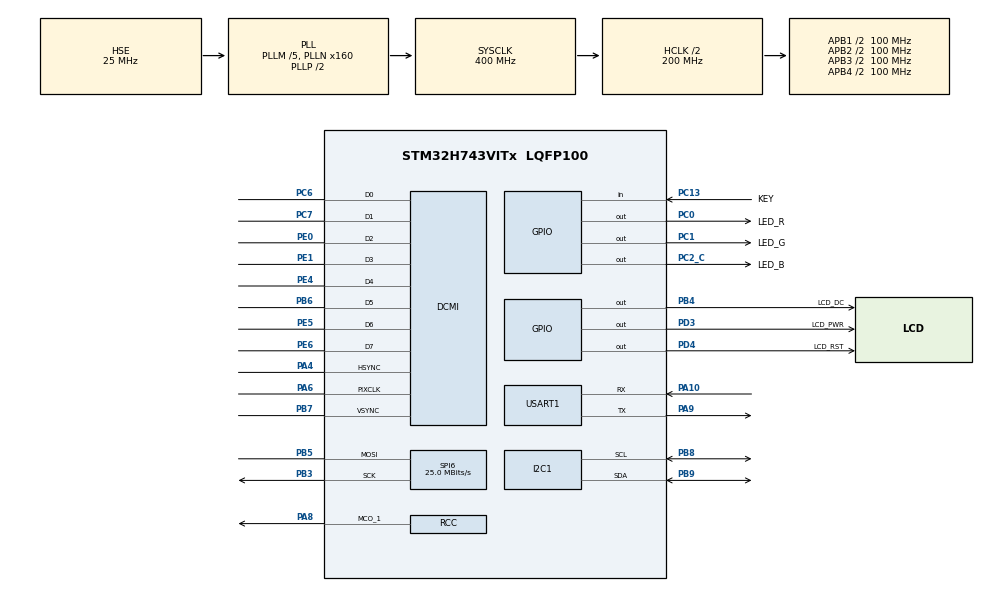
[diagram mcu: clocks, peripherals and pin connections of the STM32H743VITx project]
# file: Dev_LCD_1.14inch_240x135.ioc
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CORTEX_M7.CPU_DCache=Enabled
CORTEX_M7.CPU_ICache=Enabled
CORTEX_M7.MPU_Control=__NULL
CORTEX_M7.default_mode_Activation=0
DCMI.JPEGMode=DCMI_JPEG_DISABLE
DCMI.PCKPolarity=DCMI_PCKPOLARITY_RISING
DCMI.VSPolarity=DCMI_VSPOLARITY_HIGH
Dma.DCMI.0.Direction=DMA_PERIPH_TO_MEMORY
Dma.DCMI.0.EventEnable=DISABLE
Dma.DCMI.0.FIFOMode=DMA_FIFOMODE_ENABLE
Dma.DCMI.0.FIFOThreshold=DMA_FIFO_THRESHOLD_FULL
Dma.DCMI.0.Instance=DMA1_Stream0
Dma.DCMI.0.MemBurst=DMA_MBURST_SINGLE
Dma.DCMI.0.MemDataAlignment=DMA_MDATAALIGN_WORD
Dma.DCMI.0.MemInc=DMA_MINC_ENABLE
Dma.DCMI.0.Mode=DMA_CIRCULAR
Dma.DCMI.0.PeriphBurst=DMA_PBURST_SINGLE
Dma.DCMI.0.PeriphDataAlignment=DMA_PDATAALIGN_WORD
Dma.DCMI.0.PeriphInc=DMA_PINC_DISABLE
Dma.DCMI.0.Polarity=HAL_DMAMUX_REQ_GEN_RISING
Dma.DCMI.0.Priority=DMA_PRIORITY_VERY_HIGH
Dma.DCMI.0.RequestNumber=1
Dma.DCMI.0.SignalID=NONE
Dma.DCMI.0.SyncEnable=DISABLE
Dma.DCMI.0.SyncPolarity=HAL_DMAMUX_SYNC_NO_EVENT
Dma.DCMI.0.SyncRequestNumber=1
Dma.DCMI.0.SyncSignalID=NONE
Dma.Request0=DCMI
I2C1.I2C_Fall_Time=10
I2C1.I2C_Rise_Time=100
I2C1.Timing=0x40604E73
Mcu.Family=STM32H7
Mcu.Name=STM32H743VITx
Mcu.Package=LQFP100
NVIC.DCMI_IRQn=true\:1\:0\:true\:false\:true\:true\:true\:true
NVIC.DMA1_Stream0_IRQn=true\:0\:0\:false\:false\:true\:false\:true\:true
NVIC.PriorityGroup=NVIC_PRIORITYGROUP_2
PA10.Mode=Asynchronous
PA10.Signal=USART1_RX
PA13\ (JTMS/SWDIO).Mode=Serial_Wire
PA13\ (JTMS/SWDIO).Signal=DEBUG_JTMS-SWDIO
PA14\ (JTCK/SWCLK).Mode=Serial_Wire
PA14\ (JTCK/SWCLK).Signal=DEBUG_JTCK-SWCLK
PA4.GPIO_Speed=GPIO_SPEED_FREQ_HIGH
PA4.Mode=Slave_8_bits_External_Synchro
PA4.Signal=DCMI_HSYNC
PA6.GPIO_Speed=GPIO_SPEED_FREQ_HIGH
PA6.Mode=Slave_8_bits_External_Synchro
PA6.Signal=DCMI_PIXCLK
PA8.Mode=Clock-out-1
PA8.Signal=RCC_MCO_1
PA9.Mode=Asynchronous
PA9.Signal=USART1_TX
PB3\ (JTDO/TRACESWO).GPIO_PuPd=GPIO_PULLUP
PB3\ (JTDO/TRACESWO).GPIO_Speed=GPIO_SPEED_FREQ_VERY_HIGH
PB3\ (JTDO/TRACESWO).Mode=Simplex_Bidirectional_Master
PB3\ (JTDO/TRACESWO).Signal=SPI6_SCK
PB4\ (NJTRST).GPIO_Label=LCD_DC
PB4\ (NJTRST).GPIO_ModeDefaultOutputPP=GPIO_MODE_OUTPUT_PP
PB4\ (NJTRST).GPIO_PuPd=GPIO_PULLUP
PB4\ (NJTRST).Signal=GPIO_Output
PB5.GPIO_PuPd=GPIO_PULLUP
PB5.GPIO_Speed=GPIO_SPEED_FREQ_VERY_HIGH
PB5.Mode=Simplex_Bidirectional_Master
PB5.Signal=SPI6_MOSI
PB6.GPIO_Speed=GPIO_SPEED_FREQ_HIGH
PB6.Mode=Slave_8_bits_External_Synchro
PB6.Signal=DCMI_D5
PB7.GPIO_Speed=GPIO_SPEED_FREQ_HIGH
PB7.Mode=Slave_8_bits_External_Synchro
PB7.Signal=DCMI_VSYNC
PB8.GPIO_Pu=GPIO_PULLUP
PB8.Mode=I2C
PB8.Signal=I2C1_SCL
PB9.GPIO_Pu=GPIO_PULLUP
PB9.Mode=I2C
PB9.Signal=I2C1_SDA
PC0.GPIO_Label=LED_R
PC0.GPIO_PuPd=GPIO_PULLUP
PC0.PinState=GPIO_PIN_SET
PC0.Signal=GPIO_Output
PC1.GPIO_Label=LED_G
PC1.GPIO_PuPd=GPIO_PULLUP
PC1.GPIO_Speed=GPIO_SPEED_FREQ_LOW
PC1.PinState=GPIO_PIN_SET
PC1.Signal=GPIO_Output
PC13.GPIO_Label=KEY
PC13.GPIO_PuPd=GPIO_PULLUP
PC13.Signal=GPIO_Input
PC14-OSC32_IN\ (OSC32_IN).Mode=LSE-External-Oscillator
PC14-OSC32_IN\ (OSC32_IN).Signal=RCC_OSC32_IN
PC15-OSC32_OUT\ (OSC32_OUT).Mode=LSE-External-Oscillator
PC15-OSC32_OUT\ (OSC32_OUT).Signal=RCC_OSC32_OUT
PC2_C.GPIO_Label=LED_B
PC2_C.GPIO_PuPd=GPIO_PULLUP
PC2_C.PinState=GPIO_PIN_SET
PC2_C.Signal=GPIO_Output
PC6.GPIO_Speed=GPIO_SPEED_FREQ_HIGH
PC6.Mode=Slave_8_bits_External_Synchro
PC6.Signal=DCMI_D0
PC7.GPIO_Speed=GPIO_SPEED_FREQ_HIGH
PC7.Mode=Slave_8_bits_External_Synchro
PC7.Signal=DCMI_D1
PD3.GPIO_Label=LCD_PWR
PD3.GPIO_PuPd=GPIO_PULLUP
PD3.Signal=GPIO_Output
PD4.GPIO_Label=LCD_RST
PD4.GPIO_PuPd=GPIO_PULLUP
PD4.Signal=GPIO_Output
PE0.GPIO_Speed=GPIO_SPEED_FREQ_HIGH
PE0.Mode=Slave_8_bits_External_Synchro
PE0.Signal=DCMI_D2
PE1.GPIO_Speed=GPIO_SPEED_FREQ_HIGH
PE1.Mode=Slave_8_bits_External_Synchro
PE1.Signal=DCMI_D3
PE4.GPIO_Speed=GPIO_SPEED_FREQ_HIGH
PE4.Mode=Slave_8_bits_External_Synchro
PE4.Signal=DCMI_D4
PE5.GPIO_Speed=GPIO_SPEED_FREQ_HIGH
PE5.Mode=Slave_8_bits_External_Synchro
PE5.Signal=DCMI_D6
PE6.GPIO_Speed=GPIO_SPEED_FREQ_HIGH
PE6.Mode=Slave_8_bits_External_Synchro
PE6.Signal=DCMI_D7
PH0-OSC_IN\ (PH0).Mode=HSE-External-Oscillator
PH0-OSC_IN\ (PH0).Signal=RCC_OSC_IN
PH1-OSC_OUT\ (PH1).Mode=HSE-External-Oscillator
PH1-OSC_OUT\ (PH1).Signal=RCC_OSC_OUT
ProjectManager.HeapSize=0x800
ProjectManager.StackSize=0x800
ProjectManager.TargetToolchain=Makefile
RCC.ADCFreq_Value=200000000
RCC.APB1Freq_Value=100000000
RCC.APB2Freq_Value=100000000
RCC.APB3Freq_Value=100000000
RCC.APB4Freq_Value=100000000
RCC.CortexFreq_Value=400000000
RCC.D1PPRE=RCC_APB3_DIV2
RCC.D2PPRE1=RCC_APB1_DIV2
RCC.D2PPRE2=RCC_APB2_DIV2
RCC.D3PPRE=RCC_APB4_DIV2
RCC.DIVM1=5
RCC.DIVM2=5
RCC.DIVM3=5
RCC.DIVN1=160
RCC.DIVN2=80
RCC.DIVN3=64
RCC.DIVQ1=20
RCC.FLatency=FLASH_LATENCY_2
RCC.HCLKFreq_Value=200000000
RCC.HPRE=RCC_HCLK_DIV2
RCC.PLL1_VCI_Range=RCC_PLL1VCIRANGE_2
RCC.PLLFRACN=0
RCC.PLLSourceVirtual=RCC_PLLSOURCE_HSE
RCC.PWR_Regulator_Voltage_Scale=PWR_REGULATOR_VOLTAGE_SCALE1
RCC.ProductRev=revV
RCC.RCC_MCO1Source=RCC_MCO1SOURCE_HSI48
RCC.RCC_MCODiv1=RCC_MCODIV_4
RCC.SYSCLKFreq_VALUE=400000000
RCC.SYSCLKSource=RCC_SYSCLKSOURCE_PLLCLK
RCC.USBFreq_Value=40000000
SPI6.BaudRatePrescaler=SPI_BAUDRATEPRESCALER_4
SPI6.CLKPhase=SPI_PHASE_2EDGE
SPI6.CLKPolarity=SPI_POLARITY_HIGH
SPI6.CRCCalculation=SPI_CRCCALCULATION_DISABLE
SPI6.CalculateBaudRate=25.0 MBits/s
SPI6.DataSize=SPI_DATASIZE_8BIT
SPI6.Direction=SPI_DIRECTION_1LINE
SPI6.FifoThreshold=SPI_FIFO_THRESHOLD_01DATA
SPI6.FirstBit=SPI_FIRSTBIT_MSB
SPI6.IOSwap=SPI_IO_SWAP_DISABLE
SPI6.MasterInterDataIdleness=SPI_MASTER_INTERDATA_IDLENESS_00CYCLE
SPI6.MasterKeepIOState=SPI_MASTER_KEEP_IO_STATE_ENABLE
SPI6.MasterReceiverAutoSusp=SPI_MASTER_RX_AUTOSUSP_DISABLE
SPI6.MasterSSIdleness=SPI_MASTER_SS_IDLENESS_00CYCLE
SPI6.Mode=SPI_MODE_MASTER
SPI6.NSS=SPI_NSS_SOFT
SPI6.NSSPMode=SPI_NSS_PULSE_ENABLE
SPI6.NSSPolarity=SPI_NSS_POLARITY_LOW
SPI6.RxCRCInitializationPattern=SPI_CRC_INITIALIZATION_ALL_ZERO_PATTERN
SPI6.TIMode=SPI_TIMODE_DISABLE
SPI6.TxCRCInitializationPattern=SPI_CRC_INITIALIZATION_ALL_ZERO_PATTERN
SPI6.VirtualType=VM_MASTER
USART1.VirtualMode-Asynchronous=VM_ASYNC
board=custom

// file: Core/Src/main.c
/* USER CODE BEGIN Header */
/**
  ******************************************************************************
  * @file           : main.c
  * @brief          : Main program body
  ******************************************************************************
  * @attention
  *
  * Copyright (c) 2024 STMicroelectronics.
  * All rights reserved.
  *
  * This software is licensed under terms that can be found in the LICENSE file
  * in the root directory of this software component.
  * If no LICENSE file comes with this software, it is provided AS-IS.
  *
  ******************************************************************************
  */
/* USER CODE END Header */
#include "main.h"
#include "dcmi.h"
#include "dma.h"
#include "i2c.h"
#include "spi.h"
#include "usart.h"
#include "gpio.h"

/* USER CODE BEGIN Includes */
#include "lcd.h"
#include "camera.h"
/* USER CODE END Includes */

/* USER CODE BEGIN PV */

/* =============================== LCD ===============================  */
static uint16_t line_buffer[320];

lcd_io lcd_io_desc = {
    .spi = &hspi6,
    .rst = {LCD_RST_GPIO_Port, LCD_RST_Pin, 0},
    .bl  = {LCD_PWR_GPIO_Port, LCD_PWR_Pin, 0},
    .cs  = { /* CS */ },
    .dc  = {LCD_DC_GPIO_Port,  LCD_DC_Pin,  0},
    .te  = { /* TE */ }
};

lcd lcd_desc = {
    .io = &lcd_io_desc,
    .line_buffer = line_buffer,
};

/* ============================== Camera ==============================  */
#define FrameWidth  160
#define FrameHeight 120

// picture buffer
uint16_t pic[FrameWidth][FrameHeight] __attribute__((aligned(32)));
uint32_t DCMI_FrameIsReady;
uint32_t Camera_FPS;

/* USER CODE END PV */

void SystemClock_Config(void);

/* USER CODE BEGIN 0 */
static void MPU_Config(void)
{
  MPU_Region_InitTypeDef MPU_InitStruct = {0};

  /* Disables the MPU */
  HAL_MPU_Disable();

//  MPU_InitStruct.Enable           = MPU_REGION_ENABLE;
//  MPU_InitStruct.Number           = MPU_REGION_NUMBER0;
//  MPU_InitStruct.BaseAddress      = D1_ITCMRAM_BASE;
//  MPU_InitStruct.DisableExec      = MPU_INSTRUCTION_ACCESS_DISABLE;
//  MPU_InitStruct.AccessPermission = MPU_REGION_NO_ACCESS;
//  MPU_InitStruct.TypeExtField     = MPU_TEX_LEVEL0;
//  MPU_InitStruct.IsShareable      = MPU_ACCESS_NOT_SHAREABLE;
//  MPU_InitStruct.IsCacheable      = MPU_ACCESS_NOT_CACHEABLE;
//  MPU_InitStruct.IsBufferable     = MPU_ACCESS_NOT_BUFFERABLE;
//  MPU_InitStruct.SubRegionDisable = 0x00;
//  MPU_InitStruct.Size             = MPU_REGION_SIZE_4GB;
//  HAL_MPU_ConfigRegion(&MPU_InitStruct);

//  MPU_InitStruct.Enable           = MPU_REGION_ENABLE;
//  MPU_InitStruct.Number           = MPU_REGION_NUMBER1;
//  MPU_InitStruct.BaseAddress      = QSPI_BASE;
//  MPU_InitStruct.DisableExec      = MPU_INSTRUCTION_ACCESS_ENABLE;
//  MPU_InitStruct.AccessPermission = MPU_REGION_FULL_ACCESS;
//  MPU_InitStruct.TypeExtField     = MPU_TEX_LEVEL0;
//  MPU_InitStruct.IsShareable      = MPU_ACCESS_NOT_SHAREABLE;
//  MPU_InitStruct.IsCacheable      = MPU_ACCESS_NOT_CACHEABLE;
//  MPU_InitStruct.IsBufferable     = MPU_ACCESS_NOT_BUFFERABLE;
//  MPU_InitStruct.SubRegionDisable = 0x00;
//  MPU_InitStruct.Size             = MPU_REGION_SIZE_256MB;
//  HAL_MPU_ConfigRegion(&MPU_InitStruct);

  MPU_InitStruct.Enable           = MPU_REGION_ENABLE;
  MPU_InitStruct.Number           = MPU_REGION_NUMBER12;
  MPU_InitStruct.BaseAddress      = D1_AXIFLASH_BASE;
  MPU_InitStruct.DisableExec      = MPU_INSTRUCTION_ACCESS_ENABLE;
  MPU_InitStruct.AccessPermission = MPU_REGION_FULL_ACCESS;
  MPU_InitStruct.IsShareable      = MPU_ACCESS_NOT_SHAREABLE;
  MPU_InitStruct.IsCacheable      = MPU_ACCESS_CACHEABLE;
  MPU_InitStruct.IsBufferable     = MPU_ACCESS_BUFFERABLE;
  MPU_InitStruct.TypeExtField     = MPU_TEX_LEVEL1;
  MPU_InitStruct.SubRegionDisable = 0x00;
  MPU_InitStruct.Size             = MPU_REGION_SIZE_2MB;
  HAL_MPU_ConfigRegion(&MPU_InitStruct);

  MPU_InitStruct.Enable           = MPU_REGION_ENABLE;
  MPU_InitStruct.Number           = MPU_REGION_NUMBER13;
  MPU_InitStruct.BaseAddress      = D1_ITCMRAM_BASE;
  MPU_InitStruct.DisableExec      = MPU_INSTRUCTION_ACCESS_ENABLE;
  MPU_InitStruct.AccessPermission = MPU_REGION_FULL_ACCESS;
  MPU_InitStruct.IsShareable      = MPU_ACCESS_NOT_SHAREABLE;
  MPU_InitStruct.IsCacheable      = MPU_ACCESS_NOT_CACHEABLE;
  MPU_InitStruct.IsBufferable     = MPU_ACCESS_NOT_CACHEABLE;
  MPU_InitStruct.TypeExtField     = MPU_TEX_LEVEL1;
  MPU_InitStruct.SubRegionDisable = 0x00;
  MPU_InitStruct.Size             = MPU_REGION_SIZE_64KB;
  HAL_MPU_ConfigRegion(&MPU_InitStruct);

  MPU_InitStruct.Enable           = MPU_REGION_ENABLE;
  MPU_InitStruct.Number           = MPU_REGION_NUMBER14;
  MPU_InitStruct.BaseAddress      = D1_DTCMRAM_BASE;
  MPU_InitStruct.DisableExec      = MPU_INSTRUCTION_ACCESS_ENABLE;
  MPU_InitStruct.AccessPermission = MPU_REGION_FULL_ACCESS;
  MPU_InitStruct.IsShareable      = MPU_ACCESS_NOT_SHAREABLE;
  MPU_InitStruct.IsCacheable      = MPU_ACCESS_NOT_CACHEABLE;
  MPU_InitStruct.IsBufferable     = MPU_ACCESS_NOT_CACHEABLE;
  MPU_InitStruct.TypeExtField     = MPU_TEX_LEVEL1;
  MPU_InitStruct.SubRegionDisable = 0x00;
  MPU_InitStruct.Size             = MPU_REGION_SIZE_128KB;
  HAL_MPU_ConfigRegion(&MPU_InitStruct);

  /* Setup AXI SRAM in Cacheable WB */
  MPU_InitStruct.Enable           = MPU_REGION_ENABLE;
  MPU_InitStruct.Number           = MPU_REGION_NUMBER15;
  MPU_InitStruct.BaseAddress      = D1_AXISRAM_BASE;
  MPU_InitStruct.DisableExec      = MPU_INSTRUCTION_ACCESS_ENABLE;
  MPU_InitStruct.AccessPermission = MPU_REGION_FULL_ACCESS;
  MPU_InitStruct.IsShareable      = MPU_ACCESS_NOT_SHAREABLE;
  MPU_InitStruct.IsCacheable      = MPU_ACCESS_CACHEABLE;
  MPU_InitStruct.IsBufferable     = MPU_ACCESS_BUFFERABLE;
  MPU_InitStruct.TypeExtField     = MPU_TEX_LEVEL0;
  MPU_InitStruct.SubRegionDisable = 0x00;
  MPU_InitStruct.Size             = MPU_REGION_SIZE_512KB;
  HAL_MPU_ConfigRegion(&MPU_InitStruct);

  /* Enables the MPU */
  HAL_MPU_Enable(MPU_PRIVILEGED_DEFAULT);
}
/* USER CODE END 0 */

int main(void)
{

  /* USER CODE BEGIN 1 */
//	MPU_Config();
  /* USER CODE END 1 */

  /* Enable the CPU Cache */

  /* Enable I-Cache---------------------------------------------------------*/
  SCB_EnableICache();

  /* Enable D-Cache---------------------------------------------------------*/
  SCB_EnableDCache();

  /* MCU Configuration--------------------------------------------------------*/

  /* Reset of all peripherals, Initializes the Flash interface and the Systick. */
  HAL_Init();

  /* Configure the system clock */
  SystemClock_Config();

  /* Initialize all configured peripherals */
  MX_GPIO_Init();
  MX_DMA_Init();
  MX_SPI6_Init();
  MX_DCMI_Init();
  MX_USART1_UART_Init();
  MX_I2C1_Init();
  /* USER CODE BEGIN 2 */
  lcd_init_dev(&lcd_desc, LCD_1_14_INCH, LCD_ROTATE_0);

  Camera_Init_Device(&hi2c1, FRAMESIZE_QQVGA);
  HAL_Delay(500);
  HAL_DCMI_Start_DMA(&hdcmi,DCMI_MODE_CONTINUOUS, (uint32_t)pic, sizeof(pic) / 4);
  /* USER CODE END 2 */

  /* Infinite loop */
  /* USER CODE BEGIN WHILE */
  while (1)
  {
    if (DCMI_FrameIsReady)
    {
        DCMI_FrameIsReady = 0;
        lcd_show_picture(&lcd_desc, 0, 0, 160, 120, (uint8_t *)&pic);
                  // 在屏幕右侧显示当前帧率（FPS）
        lcd_print(&lcd_desc, 50, 120, "%dFPS",Camera_FPS);

    }
    /* USER CODE END WHILE */

  }
}

void SystemClock_Config(void)
{
  RCC_OscInitTypeDef RCC_OscInitStruct = {0};
  RCC_ClkInitTypeDef RCC_ClkInitStruct = {0};

  /** Supply configuration update enable
  */
  HAL_PWREx_ConfigSupply(PWR_LDO_SUPPLY);

  /** Configure the main internal regulator output voltage
  */
  __HAL_PWR_VOLTAGESCALING_CONFIG(PWR_REGULATOR_VOLTAGE_SCALE1);

  while(!__HAL_PWR_GET_FLAG(PWR_FLAG_VOSRDY)) {}

  /** Initializes the RCC Oscillators according to the specified parameters
  * in the RCC_OscInitTypeDef structure.
  */
  RCC_OscInitStruct.OscillatorType = RCC_OSCILLATORTYPE_HSI48|RCC_OSCILLATORTYPE_HSE;
  RCC_OscInitStruct.HSEState = RCC_HSE_ON;
  RCC_OscInitStruct.HSI48State = RCC_HSI48_ON;
  RCC_OscInitStruct.PLL.PLLState = RCC_PLL_ON;
  RCC_OscInitStruct.PLL.PLLSource = RCC_PLLSOURCE_HSE;
  RCC_OscInitStruct.PLL.PLLM = 5;
  RCC_OscInitStruct.PLL.PLLN = 160;
  RCC_OscInitStruct.PLL.PLLP = 2;
  RCC_OscInitStruct.PLL.PLLQ = 20;
  RCC_OscInitStruct.PLL.PLLR = 2;
  RCC_OscInitStruct.PLL.PLLRGE = RCC_PLL1VCIRANGE_2;
  RCC_OscInitStruct.PLL.PLLVCOSEL = RCC_PLL1VCOWIDE;
  RCC_OscInitStruct.PLL.PLLFRACN = 0;
  if (HAL_RCC_OscConfig(&RCC_OscInitStruct) != HAL_OK)
  {
    Error_Handler();
  }

  /** Initializes the CPU, AHB and APB buses clocks
  */
  RCC_ClkInitStruct.ClockType = RCC_CLOCKTYPE_HCLK|RCC_CLOCKTYPE_SYSCLK
                              |RCC_CLOCKTYPE_PCLK1|RCC_CLOCKTYPE_PCLK2
                              |RCC_CLOCKTYPE_D3PCLK1|RCC_CLOCKTYPE_D1PCLK1;
  RCC_ClkInitStruct.SYSCLKSource = RCC_SYSCLKSOURCE_PLLCLK;
  RCC_ClkInitStruct.SYSCLKDivider = RCC_SYSCLK_DIV1;
  RCC_ClkInitStruct.AHBCLKDivider = RCC_HCLK_DIV2;
  RCC_ClkInitStruct.APB3CLKDivider = RCC_APB3_DIV2;
  RCC_ClkInitStruct.APB1CLKDivider = RCC_APB1_DIV2;
  RCC_ClkInitStruct.APB2CLKDivider = RCC_APB2_DIV2;
  RCC_ClkInitStruct.APB4CLKDivider = RCC_APB4_DIV2;

  if (HAL_RCC_ClockConfig(&RCC_ClkInitStruct, FLASH_LATENCY_2) != HAL_OK)
  {
    Error_Handler();
  }
  HAL_RCC_MCOConfig(RCC_MCO1, RCC_MCO1SOURCE_HSI48, RCC_MCODIV_4);
}

/* USER CODE BEGIN 4 */
void HAL_DCMI_FrameEventCallback(DCMI_HandleTypeDef *hdcmi)
{
	static uint32_t count = 0,tick = 0;

	if(HAL_GetTick() - tick >= 1000)
	{
		tick = HAL_GetTick();
		Camera_FPS = count;
		count = 0;
	}
	count++;

  DCMI_FrameIsReady = 1;

  SCB_InvalidateDCache_by_Addr((uint32_t *)pic, sizeof(pic));
}
/* USER CODE END 4 */

void Error_Handler(void)
{
  __disable_irq();
  while (1)
  {
  }
}

// 空实现，解决链接错误
void ExitRun0Mode(void) {}
